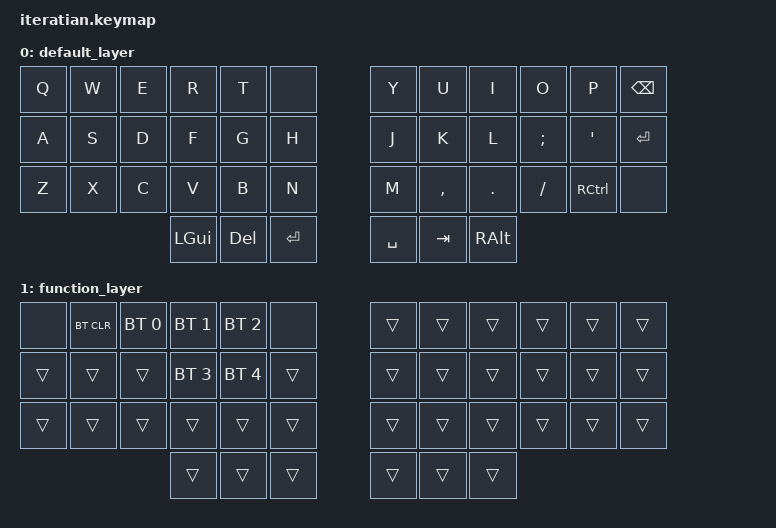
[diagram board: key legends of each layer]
#include <behaviors.dtsi>
#include <dt-bindings/zmk/keys.h>
#include <dt-bindings/zmk/bt.h>

/ {
    keymap {
        compatible = "zmk,keymap";

        default_layer {
// ---------------------------------------------------------------------------------------------------------------------------------
// |  Pnk |  Rng |  Mid |  Idx |  Inr |  SCR |                                          |  Inr |  Idx |  Mid |  Rng |  Pnk |      |
// |  Q   |  W   |  E   |  R   |  T   | SKIP |                                          |  Y   |  U   |  I   |  O   |  P   | BKSP |
// |  A   |  S   |  D   |  F   |  G   |  H   |                                          |  J   |  K   |  L   |  ;   |  '   | ENTER|
// |  Z   |  X   |  C   |  V   |  B   |  N   |                                          |  M   |  ,   |  .   |  /   | CTRL |
//                     | NEAR | HOME|  FAR |                                          |  FAR | HOME| NEAR |
            bindings = <
/* Linkerkant (6 kolommen + 3 thumb) */                                         /* Rechterkant (5 kolommen + 3 thumb) */
&kp Q      &kp W &kp E &kp R &kp T &none                                        &kp Y &kp U &kp I     &kp O   &kp P    &kp BSPC
&kp A      &kp S &kp D &kp F &kp G &kp H                                        &kp J &kp K &kp L     &kp SEMI &kp SQT  &kp RET
&kp Z      &kp X &kp C &kp V &kp B &kp N                                        &kp M &kp COMMA &kp DOT &kp FSLH &kp RCTRL &none
                 &kp LGUI &kp DEL &kp RET                                       &kp SPACE &kp TAB &kp RALT
            >;
        };

        function_layer {
// ---------------------------------------------------------------------------------------------------------------------------------
// |      |BTCLR | BT0  | BT1  | BT2  |      |                                          |      |      |      |      |      |      |
// |      |      |      | BT3  | BT4  |      |                                          |      |      |      |      |      |      |
            bindings = <
&none      &bt BT_CLR &bt BT_SEL 0 &bt BT_SEL 1 &bt BT_SEL 2 &none                  &trans &trans &trans &trans &trans &trans
&trans     &trans     &trans       &bt BT_SEL 3 &bt BT_SEL 4 &trans                 &trans &trans &trans &trans &trans &trans
&trans     &trans     &trans       &trans       &trans       &trans                 &trans &trans &trans &trans &trans &trans
                                   &trans       &trans       &trans                 &trans &trans &trans
            >;
        };
    };
};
